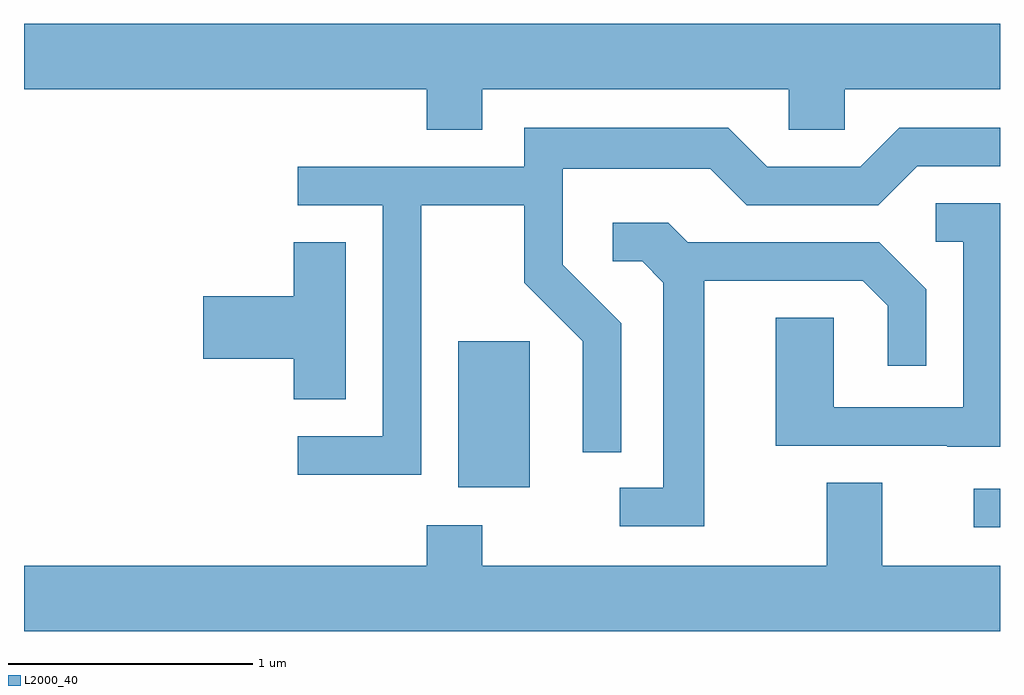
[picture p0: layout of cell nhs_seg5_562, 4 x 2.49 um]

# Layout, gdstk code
import gdstk
lib = gdstk.Library(unit=1e-6, precision=1e-09)
def R(c, l, rs):  # rectangles x0, y0, x1, y1
    for r in rs: c.add(gdstk.rectangle(r[:2], r[2:], *l))
def P(c, l, *ps):  # polygons
    for p in ps: c.add(gdstk.Polygon(p, *l))
L2000_40 = (2000, 40)

nhs_seg5_562 = lib.new_cell('nhs_seg5_562')
R(nhs_seg5_562, L2000_40, [(205.503,1432.801,205.611,1432.959), (203.391,1432.966,203.684,1433.564)])
P(nhs_seg5_562, L2000_40, [(203.489,1434.596),(204.746,1434.596),(204.746,1434.431),(204.974,1434.431),(204.974,1434.596),(205.611,1434.596),(205.611,1434.864),(201.611,1434.864),(201.611,1434.596),(203.261,1434.596),(203.261,1434.431),(203.489,1434.431)],
  [(203.239,1434.121),(203.661,1434.121),(203.661,1433.804),(203.901,1433.564),(203.901,1433.108),(204.059,1433.108),(204.059,1433.637),(203.819,1433.877),(203.819,1434.271),(204.424,1434.271),(204.574,1434.121),(205.112,1434.121),(205.272,1434.281),(205.611,1434.281),(205.611,1434.439),(205.199,1434.439),(205.039,1434.279),(204.657,1434.279),(204.497,1434.439),(203.661,1434.439),(203.661,1434.279),(202.733,1434.279),(202.733,1434.121),(203.081,1434.121),(203.081,1433.174),(202.733,1433.174),(202.733,1433.016),(203.239,1433.016)],
  [(205.611,1434.129),(205.348,1434.129),(205.348,1433.971),(205.461,1433.971),(205.461,1433.294),(204.929,1433.294),(204.929,1433.659),(204.691,1433.659),(204.691,1433.136),(205.395,1433.136),(205.395,1433.131),(205.611,1433.131)],
  [(204.399,1433.811),(205.049,1433.811),(205.151,1433.709),(205.151,1433.463),(205.309,1433.463),(205.309,1433.777),(205.117,1433.969),(204.332,1433.969),(204.252,1434.049),(204.023,1434.049),(204.023,1433.891),(204.144,1433.891),(204.231,1433.804),(204.231,1432.964),(204.053,1432.964),(204.053,1432.806),(204.399,1432.806)],
  [(202.929,1433.969),(202.716,1433.969),(202.716,1433.749),(202.346,1433.749),(202.346,1433.491),(202.716,1433.491),(202.716,1433.326),(202.929,1433.326)],
  [(205.611,1432.644),(205.129,1432.644),(205.129,1432.984),(204.901,1432.984),(204.901,1432.644),(203.489,1432.644),(203.489,1432.809),(203.261,1432.809),(203.261,1432.644),(201.611,1432.644),(201.611,1432.376),(205.611,1432.376)])

lib.write_gds('nhs_seg5_562.gds')
